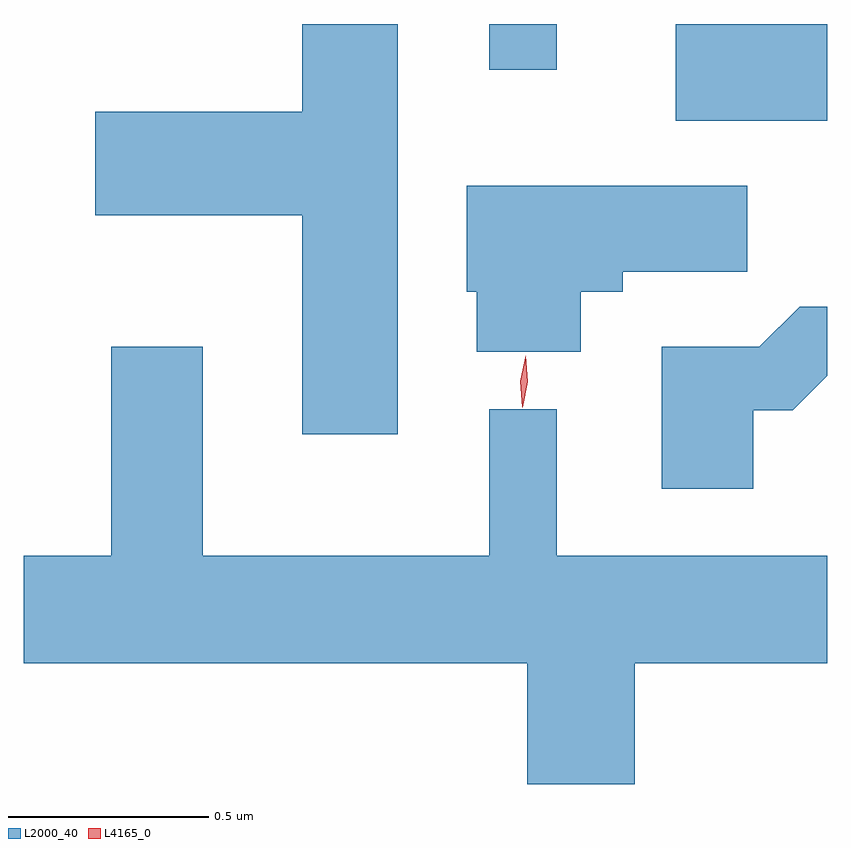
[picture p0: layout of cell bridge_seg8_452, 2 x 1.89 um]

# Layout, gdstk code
import gdstk
lib = gdstk.Library(unit=1e-6, precision=1e-09)
def R(c, l, rs):  # rectangles x0, y0, x1, y1
    for r in rs: c.add(gdstk.rectangle(r[:2], r[2:], *l))
def P(c, l, *ps):  # polygons
    for p in ps: c.add(gdstk.Polygon(p, *l))
L2000_40 = (2000, 40)
L4165_0 = (4165, 0)

bridge_seg8_452 = lib.new_cell('bridge_seg8_452')
R(bridge_seg8_452, L2000_40, [(994.666,1837.766,995.043,1838.007), (994.201,1837.893,994.369,1838.007)])
P(bridge_seg8_452, L2000_40, [(993.974,1838.007),(993.736,1838.007),(993.736,1837.789),(993.221,1837.789),(993.221,1837.531),(993.736,1837.531),(993.736,1836.986),(993.974,1836.986)],
  [(994.429,1837.341),(994.534,1837.341),(994.534,1837.391),(994.844,1837.391),(994.844,1837.604),(994.146,1837.604),(994.146,1837.341),(994.171,1837.341),(994.171,1837.191),(994.429,1837.191)],
  [(994.859,1837.046),(994.957,1837.046),(995.043,1837.132),(995.043,1837.304),(994.974,1837.304),(994.874,1837.204),(994.631,1837.204),(994.631,1836.851),(994.859,1836.851)],
  [(994.564,1836.416),(995.043,1836.416),(995.043,1836.684),(994.369,1836.684),(994.369,1837.048),(994.201,1837.048),(994.201,1836.684),(993.489,1836.684),(993.489,1837.204),(993.261,1837.204),(993.261,1836.684),(993.043,1836.684),(993.043,1836.416),(994.296,1836.416),(994.296,1836.116),(994.564,1836.116)])
P(bridge_seg8_452, L4165_0, [(994.284,1837.054),(994.279,1837.118),(994.292,1837.182),(994.292,1837.182),(994.293,1837.182),(994.298,1837.117),(994.285,1837.054),(994.285,1837.054)])

lib.write_gds('bridge_seg8_452.gds')
